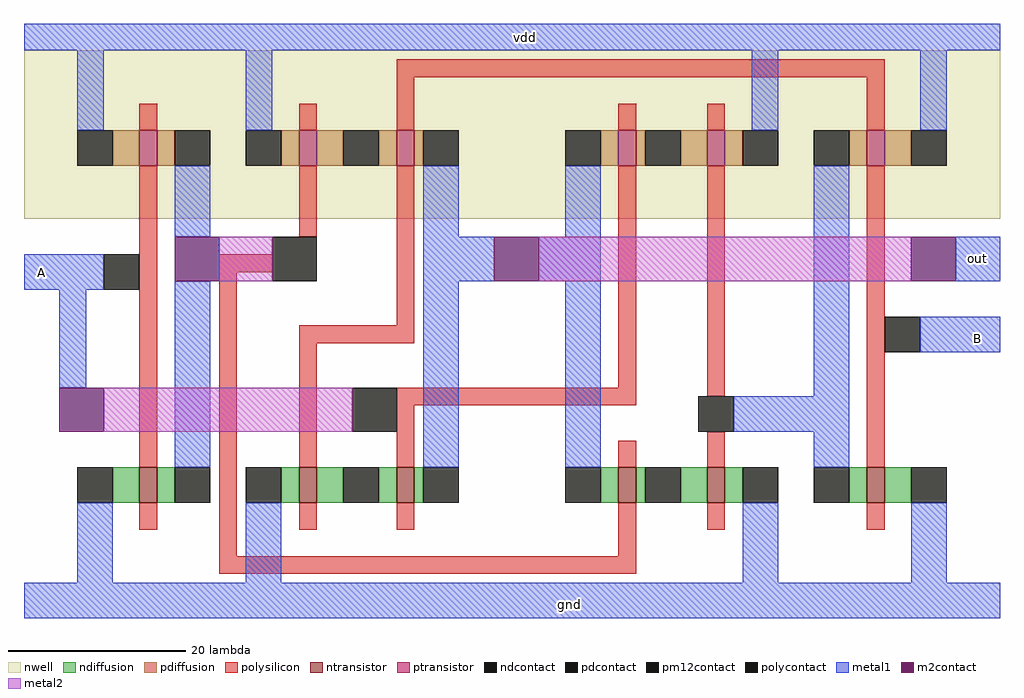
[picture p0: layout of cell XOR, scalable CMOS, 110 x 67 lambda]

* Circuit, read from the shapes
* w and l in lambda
.subckt XOR A B gnd out vdd
M1 n1 A gnd VSUBS nfet w=4 l=2
M2 n2 B gnd VSUBS nfet w=4 l=2
M3 out A n2 VSUBS nfet w=4 l=2
M4 n3 n1 out VSUBS nfet w=4 l=2
M5 gnd n4 n3 VSUBS nfet w=4 l=2
M6 gnd B n4 VSUBS nfet w=4 l=2
M7 n1 A vdd n5 pfet w=4 l=2
M8 n6 n1 vdd n5 pfet w=4 l=2
M9 out B n6 n5 pfet w=4 l=2
M10 n7 A out n5 pfet w=4 l=2
M11 vdd n4 n7 n5 pfet w=4 l=2
M12 vdd B n4 n5 pfet w=4 l=2
.ends

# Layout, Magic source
magic
tech scmos
<< nwell >>
rect 108 68 218 87
<< ntransistor >>
rect 121 36 123 40
rect 139 36 141 40
rect 150 36 152 40
rect 175 36 177 40
rect 185 36 187 40
rect 203 36 205 40
<< ptransistor >>
rect 121 74 123 78
rect 139 74 141 78
rect 150 74 152 78
rect 175 74 177 78
rect 185 74 187 78
rect 203 74 205 78
<< ndiffusion >>
rect 118 36 121 40
rect 123 36 125 40
rect 137 36 139 40
rect 141 36 144 40
rect 148 36 150 40
rect 152 36 153 40
rect 173 36 175 40
rect 177 36 178 40
rect 182 36 185 40
rect 187 36 189 40
rect 201 36 203 40
rect 205 36 208 40
<< pdiffusion >>
rect 118 74 121 78
rect 123 74 125 78
rect 137 74 139 78
rect 141 74 144 78
rect 148 74 150 78
rect 152 74 153 78
rect 173 74 175 78
rect 177 74 178 78
rect 182 74 185 78
rect 187 74 189 78
rect 201 74 203 78
rect 205 74 208 78
<< ndcontact >>
rect 114 36 118 40
rect 125 36 129 40
rect 133 36 137 40
rect 144 36 148 40
rect 153 36 157 40
rect 169 36 173 40
rect 178 36 182 40
rect 189 36 193 40
rect 197 36 201 40
rect 208 36 212 40
<< pdcontact >>
rect 114 74 118 78
rect 125 74 129 78
rect 133 74 137 78
rect 144 74 148 78
rect 153 74 157 78
rect 169 74 173 78
rect 178 74 182 78
rect 189 74 193 78
rect 197 74 201 78
rect 208 74 212 78
<< polysilicon >>
rect 150 84 205 86
rect 121 78 123 81
rect 139 78 141 81
rect 150 78 152 84
rect 175 78 177 81
rect 185 78 187 81
rect 203 78 205 84
rect 121 40 123 74
rect 139 66 141 74
rect 130 62 136 64
rect 121 33 123 36
rect 130 30 132 62
rect 150 56 152 74
rect 139 54 152 56
rect 139 40 141 54
rect 175 49 177 74
rect 150 47 177 49
rect 185 48 187 74
rect 150 40 152 47
rect 175 40 177 43
rect 185 40 187 44
rect 203 40 205 74
rect 139 33 141 36
rect 150 33 152 36
rect 175 30 177 36
rect 185 33 187 36
rect 203 33 205 36
rect 130 28 177 30
<< polycontact >>
rect 117 60 121 64
rect 184 44 188 48
rect 205 53 209 57
<< metal1 >>
rect 108 87 218 90
rect 114 78 117 87
rect 133 78 136 87
rect 190 78 193 87
rect 209 78 212 87
rect 125 66 129 74
rect 153 66 157 74
rect 169 66 173 74
rect 108 60 117 64
rect 153 61 161 66
rect 166 61 173 66
rect 112 49 115 60
rect 125 40 129 61
rect 153 40 157 61
rect 169 40 173 61
rect 197 48 201 74
rect 213 61 218 66
rect 209 53 218 57
rect 188 44 201 48
rect 197 40 201 44
rect 114 27 118 36
rect 133 27 137 36
rect 189 27 193 36
rect 208 27 212 36
rect 108 23 218 27
<< m2contact >>
rect 125 61 130 66
rect 161 61 166 66
rect 112 44 117 49
rect 208 61 213 66
<< pm12contact >>
rect 136 61 141 66
rect 145 44 150 49
<< metal2 >>
rect 130 61 136 66
rect 166 61 208 66
rect 117 44 145 49
<< labels >>
rlabel metal1 109 61 111 63 3 A
rlabel metal1 164 88 165 89 5 vdd
rlabel metal1 169 24 170 25 1 gnd
rlabel metal1 215 54 216 55 7 B
rlabel metal1 215 63 216 64 7 out
<< end >>
